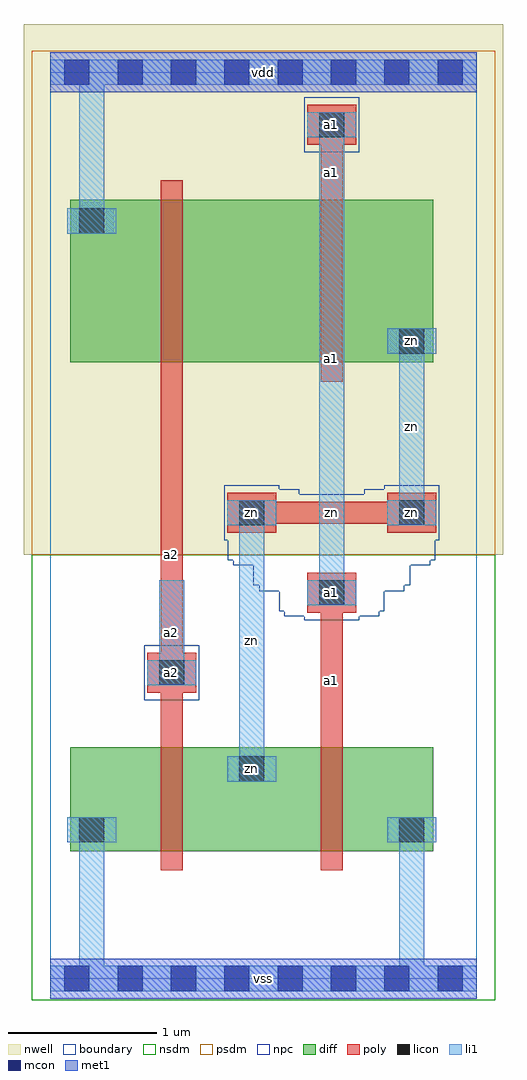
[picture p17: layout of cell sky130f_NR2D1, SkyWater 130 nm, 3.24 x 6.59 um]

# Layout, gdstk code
import gdstk
lib = gdstk.Library(unit=1e-6, precision=1e-09)
def R(c, l, rs):  # rectangles x0, y0, x1, y1
    for r in rs: c.add(gdstk.rectangle(r[:2], r[2:], *l))
def A(c, l, x, y, w, h, nx, ny, dx, dy):  # array of equal rectangles
    R(c, l, [(x+i*dx, y+j*dy, x+i*dx+w, y+j*dy+h) for i in range(nx) for j in range(ny)])
def P(c, l, *ps):  # polygons
    for p in ps: c.add(gdstk.Polygon(p, *l))
L0_0 = (0, 0)
nwell = (64, 20)
diff = (65, 20)
poly = (66, 20)
licon = (66, 44)
li1 = (67, 20)
mcon = (67, 44)
met1 = (68, 20)
nsdm = (93, 44)
psdm = (94, 20)
npc = (95, 20)
boundary = (235, 4)

sky130f_nr2d1 = lib.new_cell('sky130f_NR2D1')
R(sky130f_nr2d1, nwell, [(-0.18,2.86,3.06,6.445)])
R(sky130f_nr2d1, diff, [(0.135,0.86,1.505,1.56), (0.135,0.86,0.425,1.15), (1.215,0.86,2.585,1.56), (2.295,0.86,2.585,1.15), (1.215,1.27,1.505,1.56), (0.135,4.16,1.505,5.26), (1.215,4.16,2.585,5.26), (2.295,4.16,2.585,4.45), (0.135,4.97,0.425,5.26)])
R(sky130f_nr2d1, poly, [(0.745,0.73,0.895,1.69), (1.825,0.73,1.975,1.69), (0.745,1.34,0.895,4.38), (1.825,1.34,1.975,2.68), (0.655,1.93,0.985,2.2), (1.735,2.47,2.065,2.74), (1.195,3.01,1.525,3.28), (2.275,3.01,2.605,3.28), (1.285,3.07,2.515,3.22), (0.745,4.03,0.895,5.39), (1.825,4.03,1.975,5.39), (1.825,5.04,1.975,5.84), (1.735,5.63,2.065,5.9)])
R(sky130f_nr2d1, licon, [(0.195,0.92,0.365,1.09), (2.355,0.92,2.525,1.09), (1.275,1.33,1.445,1.5), (0.735,1.98,0.905,2.15), (1.815,2.52,1.985,2.69), (1.275,3.06,1.445,3.23), (2.355,3.06,2.525,3.23), (2.355,4.22,2.525,4.39), (0.195,5.03,0.365,5.2), (1.815,5.68,1.985,5.85)])
R(sky130f_nr2d1, li1, [(0,-0.085,2.88,0.085), (0.195,0.06,0.365,1.09), (2.355,0.06,2.525,1.09), (0.115,0.92,0.445,1.09), (2.275,0.92,2.605,1.09), (1.195,1.33,1.525,1.5), (1.275,1.33,1.445,3.23), (0.655,1.98,0.985,2.15), (0.735,1.98,0.905,2.69), (1.735,2.52,2.065,2.69), (1.815,2.52,1.985,5.85), (1.195,3.06,1.525,3.23), (2.275,3.06,2.605,3.23), (2.355,3.06,2.525,4.39), (2.275,4.22,2.605,4.39), (0.115,5.03,0.445,5.2), (0.195,5.03,0.365,6.06), (1.735,5.68,2.065,5.85), (0,6.035,2.88,6.205)])
A(sky130f_nr2d1, mcon, 0.095, -0.085, 0.17, 0.17, 8, 2, 0.36, 6.12)
R(sky130f_nr2d1, met1, [(0,-0.135,2.88,0.135), (0,5.985,2.88,6.255)])
R(sky130f_nr2d1, nsdm, [(-0.125,-0.145,3.005,0.145), (-0.125,0.145,3.005,2.86)])
R(sky130f_nr2d1, psdm, [(-0.125,2.86,3.005,5.975), (-0.125,5.975,3.005,6.265)])
R(sky130f_nr2d1, npc, [(0.635,1.88,1.005,2.25), (1.715,5.58,2.085,5.95)])
P(sky130f_nr2d1, npc, [(1.715,2.42),(1.715,2.445),(1.58,2.445),(1.58,2.48),(1.545,2.48),(1.545,2.615),(1.41,2.615),(1.41,2.655),(1.37,2.655),(1.37,2.79),(1.235,2.79),(1.235,2.825),(1.2,2.825),(1.2,2.96),(1.175,2.96),(1.175,3.33),(1.545,3.33),(1.545,3.305),(1.68,3.305),(1.68,3.27),(2.12,3.27),(2.12,3.305),(2.255,3.305),(2.255,3.33),(2.625,3.33),(2.625,2.96),(2.6,2.96),(2.6,2.825),(2.565,2.825),(2.565,2.79),(2.43,2.79),(2.43,2.655),(2.39,2.655),(2.39,2.615),(2.255,2.615),(2.255,2.48),(2.22,2.48),(2.22,2.445),(2.085,2.445),(2.085,2.42)])
R(sky130f_nr2d1, boundary, [(0,0,2.88,6.12)])
sky130f_nr2d1.add(gdstk.FlexPath([(0.115,0.355),(2.605,0.355)], 0, ends="flush", simple_path=True, layer=0, datatype=0))  # L0_0
sky130f_nr2d1.add(gdstk.FlexPath([(0.115,1.005),(2.605,1.005)], 0, ends="flush", simple_path=True, layer=0, datatype=0))  # L0_0
sky130f_nr2d1.add(gdstk.FlexPath([(0.115,1.415),(2.605,1.415)], 0, ends="flush", simple_path=True, layer=0, datatype=0))  # L0_0
sky130f_nr2d1.add(gdstk.FlexPath([(0.115,2.065),(2.605,2.065)], 0, ends="flush", simple_path=True, layer=0, datatype=0))  # L0_0
sky130f_nr2d1.add(gdstk.FlexPath([(0.115,2.605),(2.605,2.605)], 0, ends="flush", simple_path=True, layer=0, datatype=0))  # L0_0
sky130f_nr2d1.add(gdstk.FlexPath([(0.115,3.145),(2.605,3.145)], 0, ends="flush", simple_path=True, layer=0, datatype=0))  # L0_0
sky130f_nr2d1.add(gdstk.FlexPath([(0.115,4.305),(2.605,4.305)], 0, ends="flush", simple_path=True, layer=0, datatype=0))  # L0_0
sky130f_nr2d1.add(gdstk.FlexPath([(0.115,4.775),(2.605,4.775)], 0, ends="flush", simple_path=True, layer=0, datatype=0))  # L0_0
sky130f_nr2d1.add(gdstk.FlexPath([(0.115,5.115),(2.605,5.115)], 0, ends="flush", simple_path=True, layer=0, datatype=0))  # L0_0
sky130f_nr2d1.add(gdstk.FlexPath([(0.115,5.765),(2.605,5.765)], 0, ends="flush", simple_path=True, layer=0, datatype=0))  # L0_0
sky130f_nr2d1.add(gdstk.FlexPath([(0.28,0.06),(0.28,6.06)], 0, ends="flush", simple_path=True, layer=0, datatype=0))  # L0_0
sky130f_nr2d1.add(gdstk.FlexPath([(0.82,0.06),(0.82,6.06)], 0, ends="flush", simple_path=True, layer=0, datatype=0))  # L0_0
sky130f_nr2d1.add(gdstk.FlexPath([(1.36,0.06),(1.36,6.06)], 0, ends="flush", simple_path=True, layer=0, datatype=0))  # L0_0
sky130f_nr2d1.add(gdstk.FlexPath([(1.9,0.06),(1.9,6.06)], 0, ends="flush", simple_path=True, layer=0, datatype=0))  # L0_0
sky130f_nr2d1.add(gdstk.FlexPath([(2.44,0.06),(2.44,6.06)], 0, ends="flush", simple_path=True, layer=0, datatype=0))  # L0_0
sky130f_nr2d1.add(gdstk.Label('zn', (1.36,1.415), layer=65, texttype=20))
sky130f_nr2d1.add(gdstk.Label('zn', (2.44,4.305), layer=65, texttype=20))
sky130f_nr2d1.add(gdstk.Label('zn', (1.36,3.145), layer=66, texttype=20))
sky130f_nr2d1.add(gdstk.Label('zn', (1.9,3.145), layer=66, texttype=20))
sky130f_nr2d1.add(gdstk.Label('zn', (2.44,3.145), layer=66, texttype=20))
sky130f_nr2d1.add(gdstk.Label('a1', (1.9,2.01), layer=66, texttype=20))
sky130f_nr2d1.add(gdstk.Label('a1', (1.9,2.605), layer=66, texttype=20))
sky130f_nr2d1.add(gdstk.Label('a1', (1.9,5.765), layer=66, texttype=20))
sky130f_nr2d1.add(gdstk.Label('a1', (1.9,5.44), layer=66, texttype=20))
sky130f_nr2d1.add(gdstk.Label('a2', (0.82,2.86), layer=66, texttype=20))
sky130f_nr2d1.add(gdstk.Label('a2', (0.82,2.065), layer=66, texttype=20))
sky130f_nr2d1.add(gdstk.Label('zn', (1.36,1.415), layer=66, texttype=44))
sky130f_nr2d1.add(gdstk.Label('zn', (2.44,4.305), layer=66, texttype=44))
sky130f_nr2d1.add(gdstk.Label('zn', (1.36,3.145), layer=66, texttype=44))
sky130f_nr2d1.add(gdstk.Label('zn', (2.44,3.145), layer=66, texttype=44))
sky130f_nr2d1.add(gdstk.Label('a1', (1.9,2.605), layer=66, texttype=44))
sky130f_nr2d1.add(gdstk.Label('a1', (1.9,5.765), layer=66, texttype=44))
sky130f_nr2d1.add(gdstk.Label('a2', (0.82,2.065), layer=66, texttype=44))
sky130f_nr2d1.add(gdstk.Label('zn', (1.36,1.415), layer=67, texttype=5))
sky130f_nr2d1.add(gdstk.Label('zn', (2.44,4.305), layer=67, texttype=5))
sky130f_nr2d1.add(gdstk.Label('zn', (1.36,2.28), layer=67, texttype=5))
sky130f_nr2d1.add(gdstk.Label('zn', (1.36,3.145), layer=67, texttype=5))
sky130f_nr2d1.add(gdstk.Label('zn', (2.44,3.145), layer=67, texttype=5))
sky130f_nr2d1.add(gdstk.Label('zn', (2.44,3.725), layer=67, texttype=5))
sky130f_nr2d1.add(gdstk.Label('a1', (1.9,2.605), layer=67, texttype=5))
sky130f_nr2d1.add(gdstk.Label('a1', (1.9,4.185), layer=67, texttype=5))
sky130f_nr2d1.add(gdstk.Label('a1', (1.9,5.765), layer=67, texttype=5))
sky130f_nr2d1.add(gdstk.Label('a2', (0.82,2.065), layer=67, texttype=5))
sky130f_nr2d1.add(gdstk.Label('a2', (0.82,2.335), layer=67, texttype=5))
sky130f_nr2d1.add(gdstk.Label('vss', (1.44,0), layer=67, texttype=5))
sky130f_nr2d1.add(gdstk.Label('vdd', (1.44,6.12), layer=67, texttype=5))
sky130f_nr2d1.add(gdstk.Label('vss', (1.44,0), layer=68, texttype=5))
sky130f_nr2d1.add(gdstk.Label('vdd', (1.44,6.12), layer=68, texttype=5))

lib.write_gds('sky130f_NR2D1.gds')
